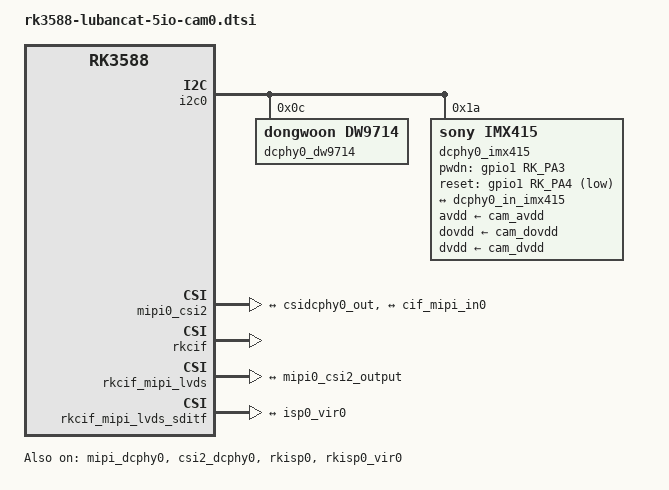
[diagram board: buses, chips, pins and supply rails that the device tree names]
// SPDX-License-Identifier: (GPL-2.0+ OR MIT)
/*
 * Copyright (c) 2020 Rockchip Electronics Co., Ltd.
 *
 */

/* Link path: sensor->csi2_dcphy0->mipi0_csi2->rkcif_mipi_lvds--->rkcif_mipi_lvds_sditf->rkisp0_vir0 */
#include "rk3588-lubancat-cam.dtsi"

&i2c0 {
	status = "okay";
	pinctrl-names = "default";
	pinctrl-0 = <&i2c0m2_xfer>;

	dcphy0_dw9714: dw9714@c {
		status = "okay";
		compatible = "dongwoon,dw9714";
		reg = <0xc>;
		rockchip,camera-module-index = <0>;
		rockchip,vcm-max-current = <100>;
		rockchip,vcm-start-current = <0>;
		rockchip,vcm-rated-current = <100>;
		rockchip,vcm-step-mode = <0xd>;
		rockchip,vcm-dlc-enable = <0>;
		rockchip,vcm-mclk = <0>;	
		rockchip,vcm-t-src = <0>;
		rockchip,camera-module-facing = "back";
	};

	dcphy0_ov5647: ov5647@36 {
		compatible = "ovti,ov5647";
		status = "disabled";
		reg = <0x36>;
		clocks = <&ext_cam_25m_clk>;
		clock-names = "ext_cam_25m_clk";
		pwdn-gpios = <&gpio1 RK_PA3 GPIO_ACTIVE_LOW>;
		lens-focus = <&dcphy0_dw9714>;

		port {
			ov5647_dcphy0_out: endpoint {
				remote-endpoint = <&dcphy0_in_ov5647>;
				data-lanes = <1 2>;
			};
		};
	};

	dcphy0_ov5648: ov5648@36 {
		compatible = "ovti,ov5648";
		status = "disabled";
		reg = <0x36>;
		clocks = <&ext_cam_24m_clk>;
		clock-names = "xvclk";
		dovdd-supply= <&cam_dovdd>; /* 1.8v */
		avdd-supply = <&cam_avdd>;  /* 2.8v */
		dvdd-supply = <&cam_dvdd>;  /* 1.2v */
		pwdn-gpios = <&gpio1 RK_PA3 GPIO_ACTIVE_HIGH>;
		reset-gpios = <&gpio1 RK_PA4 GPIO_ACTIVE_LOW>;
		rotation = <180>;

		rockchip,camera-module-index = <0>;
		rockchip,camera-module-facing = "back";
		rockchip,camera-module-name = "THDS11073";
		rockchip,camera-module-lens-name = "Largan-40122a1";
		lens-focus = <&dcphy0_dw9714>;

		port {
			/* MIPI CSI-2 bus endpoint */
			ov5648_dcphy0_out: endpoint {
				remote-endpoint = <&dcphy0_in_ov5648>;
				clock-lanes = <0>;
				data-lanes = <1 2>;
			};
		};
	};

	dcphy0_ov8858: ov8858@36 {
		compatible = "ovti,ov8858";
		status = "disabled";
		reg = <0x36>;
		clocks = <&ext_cam_24m_clk>;
		clock-names = "xvclk";
		dovdd-supply= <&cam_dovdd>; /* 1.8v */
		avdd-supply = <&cam_avdd>;  /* 2.8v */
		dvdd-supply = <&cam_dvdd>;  /* 1.2v */
		pwdn-gpios = <&gpio1 RK_PA3 GPIO_ACTIVE_HIGH>;
		reset-gpios = <&gpio1 RK_PA4 GPIO_ACTIVE_HIGH>;
		rotation = <180>;

		rockchip,camera-module-index = <0>;
		rockchip,camera-module-facing = "back";
		rockchip,camera-module-name = "HS5885-BNSM1018-V01";
		rockchip,camera-module-lens-name = "default";
		lens-focus = <&dcphy0_dw9714>;

		port {
			/* MIPI CSI-2 bus endpoint */
			ov8858_dcphy0_out: endpoint {
				remote-endpoint = <&dcphy0_in_ov8858>;
				clock-lanes = <0>;
				data-lanes = <1 2>;
			};
		};
	};

   	dcphy0_ov13850: ov13850@10 {
		compatible = "ovti,ov13850";
		status = "disabled";
		reg = <0x10>;
		clocks = <&ext_cam_24m_clk>;
		clock-names = "xvclk";
		dovdd-supply= <&cam_dovdd>; /* 1.8v */
		avdd-supply = <&cam_avdd>;  /* 2.8v */
		dvdd-supply = <&cam_dvdd>;  /* 1.2v */
		pwdn-gpios = <&gpio1 RK_PA3 GPIO_ACTIVE_HIGH>;
		reset-gpios = <&gpio1 RK_PA4 GPIO_ACTIVE_HIGH>;
		rotation = <180>;

		rockchip,camera-module-index = <2>;
		rockchip,camera-module-facing = "back";
		rockchip,camera-module-name = "ZC-OV13850R2A-V1";
		rockchip,camera-module-lens-name = "Largan-50064B31";
		lens-focus = <&dcphy0_dw9714>;

		port {
			/* MIPI CSI-2 bus endpoint */
			ov13850_dcphy0_out: endpoint {
				remote-endpoint = <&dcphy0_in_ov13850>;
				clock-lanes = <0>;
				data-lanes = <1 2>;
			};
		};
    };

	dcphy0_imx415: imx415@1a {
		compatible = "sony,imx415";
		status = "okay";
		reg = <0x1a>;
		clocks = <&ext_cam_24m_clk>;
		clock-names = "xvclk";
		power-domains = <&power RK3588_PD_VI>;
		avdd-supply = <&cam_avdd>;
		dovdd-supply = <&cam_dovdd>;
		dvdd-supply = <&cam_dvdd>;
		pwdn-gpios = <&gpio1 RK_PA3 GPIO_ACTIVE_HIGH>;
		reset-gpios = <&gpio1 RK_PA4 GPIO_ACTIVE_LOW>;

		rockchip,camera-module-index = <0>;
		rockchip,camera-module-facing = "back";
		rockchip,camera-module-name = "CMK-OT2022-PX1";
		rockchip,camera-module-lens-name = "IR0147-50IRC-8M-F20";
		// NO_HDR:0 HDR_X2:5 HDR_X3:6
		// rockchip,camera-hdr-mode = <0>;
		port {
			imx415_dcphy0_out: endpoint {
				remote-endpoint = <&dcphy0_in_imx415>;
				data-lanes = <1 2 3 4>;
			};
		};
	};
};

&mipi_dcphy0 {
	status = "okay";
};

&csi2_dcphy0 {
	status = "okay";
	
	ports {
		#address-cells = <1>;
		#size-cells = <0>;

		port@0 {
			reg = <0>;
			#address-cells = <1>;
			#size-cells = <0>;

			dcphy0_in_ov5648: endpoint@1 {
				reg = <1>;
				remote-endpoint = <&ov5648_dcphy0_out>;
				data-lanes = <1 2>;
			};

			dcphy0_in_ov8858: endpoint@2 {
				reg = <2>;
				remote-endpoint = <&ov8858_dcphy0_out>;
				data-lanes = <1 2>;
			};

			dcphy0_in_ov13850: endpoint@3 {
				reg = <3>;
				remote-endpoint = <&ov13850_dcphy0_out>;
				data-lanes = <1 2>;
			};

			dcphy0_in_ov5647: endpoint@4 {
				reg = <4>;
				remote-endpoint = <&ov5647_dcphy0_out>;
				data-lanes = <1 2>;
			};

			dcphy0_in_imx415: endpoint@5 {
				reg = <5>;
				remote-endpoint = <&imx415_dcphy0_out>;
				data-lanes = <1 2 3 4>;
			};
		};

		port@1 {
			reg = <1>;
			#address-cells = <1>;
			#size-cells = <0>;

			csidcphy0_out: endpoint@0 {
				reg = <0>;
				remote-endpoint = <&mipi0_csi2_input>;
			};
		};
	};
};

&mipi0_csi2 {
	status = "okay";

	ports {
		#address-cells = <1>;
		#size-cells = <0>;

		port@0 {
			reg = <0>;
			#address-cells = <1>;
			#size-cells = <0>;

			mipi0_csi2_input: endpoint@1 {
				reg = <1>;
				remote-endpoint = <&csidcphy0_out>;
			};
		};

		port@1 {
			reg = <1>;
			#address-cells = <1>;
			#size-cells = <0>;

			mipi0_csi2_output: endpoint@0 {
				reg = <0>;
				remote-endpoint = <&cif_mipi_in0>;
			};
		};
	};
};

&rkcif {
	status = "okay";
};

&rkcif_mipi_lvds {
	status = "okay";

	port {
		cif_mipi_in0: endpoint {
			remote-endpoint = <&mipi0_csi2_output>;
		};
	};
};

&rkcif_mipi_lvds_sditf {
	status = "okay";

	port {
		mipi_lvds_sditf: endpoint {
			remote-endpoint = <&isp0_vir0>;
		};
	};
};

&rkcif_mmu {
	status = "okay";
};

&rkisp0 {
	status = "okay";
};

&isp0_mmu {
	status = "okay";
};

&rkisp0_vir0 {
	status = "okay";

	port {
		#address-cells = <1>;
		#size-cells = <0>;

		isp0_vir0: endpoint@0 {
			reg = <0>;
			remote-endpoint = <&mipi_lvds_sditf>;
		};
	};
};

